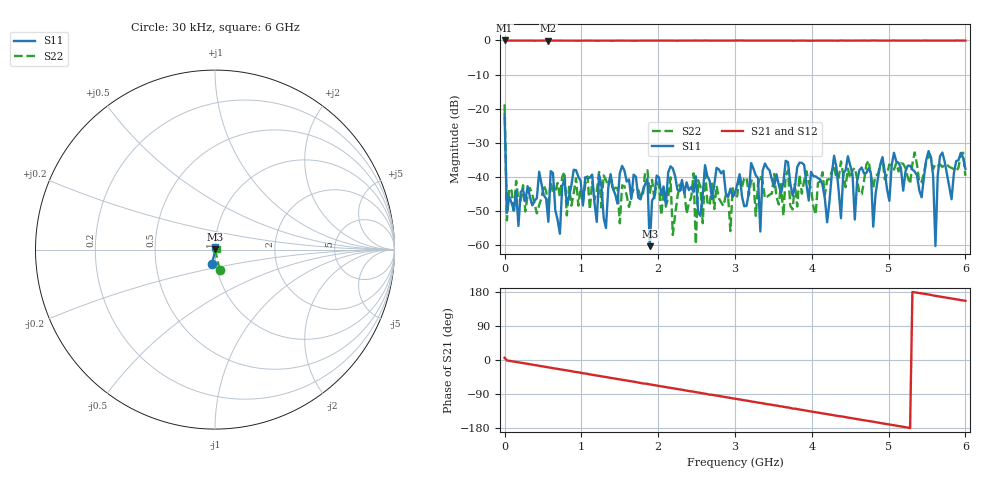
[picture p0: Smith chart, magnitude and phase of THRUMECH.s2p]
!Keysight Technologies N9916A: A.08.06
!Date: Thursday, 30 May 2024 21:43:53
!Timezone: (GMT+10:00) Brisbane
!Model: N9916A
!Serial: MY53102361
!GPS Latitude:
!GPS Longitude:
!GPS TimeStamp: 0001-01-01 00:00:00Z
!GPS Seconds Since Last Read: 0
!CHECKSUM:2146891203
!Correction: S11(ON U)S21(ON U)S12(ON U)S22(ON U)
!S2P File: Measurements:S11,S21,S12,S22:
# Hz S DB R 50
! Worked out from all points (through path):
!   201 points, 30 kHz to 6 GHz, reference 50 ohm
!   highest |S21| = -0.01 dB at 30 kHz (marker M1); lowest = -0.1 dB at 570 MHz (marker M2)
!   group delay of S21, straight-line fit = 94.4 ps
!   lowest |S11| = -60.3 dB at 1.89 GHz (marker M3), VSWR 1.00, Z = 50 + j0.0914 ohm
!   |S11| at or under -10 dB: start of sweep to end of sweep
!   |S22| runs from -59.7 to -18.7 dB; largest |S21 - S12| = 0.016
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30000  -21.59 -101.9  -0.01 5.9  0.03 5.4  -18.73 -77.2
3.002985e7  -50.53 29.0  -0.05 -1.1  -0.06 -0.9  -52.70 87.3
5.700272e8  -53.10 4.2  -0.08 -19.5  -0.07 -19.4  -49.21 -62.2
6.00027e8  -38.28 0.3  -0.07 -20.4  -0.06 -20.5  -41.51 -25.1
7.200264e8  -56.61 -33.5  -0.07 -24.6  -0.07 -24.8  -45.78 140.3
7.800261e8  -40.59 48.1  -0.05 -26.4  -0.06 -26.9  -38.50 -33.0
1.020025e9  -48.35 -138.0  -0.07 -34.7  -0.07 -34.6  -47.42 -154.1
1.860021e9  -40.54 51.7  -0.04 -63.0  -0.07 -63.9  -38.02 -115.6
1.890021e9  -60.26 109.4  -0.06 -64.4  -0.06 -64.3  -45.05 42.2
2.01002e9  -40.14 48.7  -0.04 -68.4  -0.03 -68.2  -42.64 -79.8
2.160019e9  -36.87 35.3  -0.05 -73.5  -0.05 -73.3  -40.10 -75.8
2.190019e9  -37.48 80.1  -0.05 -74.6  -0.05 -74.7  -56.96 -92.1
2.460018e9  -44.43 75.8  -0.03 -83.5  -0.05 -83.7  -38.95 -134.1
2.490018e9  -39.79 151.6  -0.03 -84.8  -0.03 -84.3  -59.70 -170.5
2.610017e9  -36.53 56.1  -0.03 -89.1  -0.06 -88.7  -37.49 -122.8
3.000015e9  -44.68 60.4  -0.05 -102.0  -0.05 -101.9  -46.26 74.9
4.02001e9  -39.72 27.7  -0.05 -136.7  -0.06 -136.7  -48.63 -116.4
5.010005e9  -47.00 -36.0  -0.06 -170.2  -0.05 -170.2  -36.26 -0.3
5.520002e9  -32.41 49.9  -0.06 172.5  -0.02 172.4  -33.98 57.4
5.610002e9  -60.23 -38.6  -0.05 169.4  -0.04 169.4  -36.18 -7.6
5.670002e9  -33.86 2.7  -0.06 167.6  -0.03 167.6  -36.33 34.5
6e9  -37.63 91.1  -0.04 156.2  -0.03 156.2  -39.66 10.0
